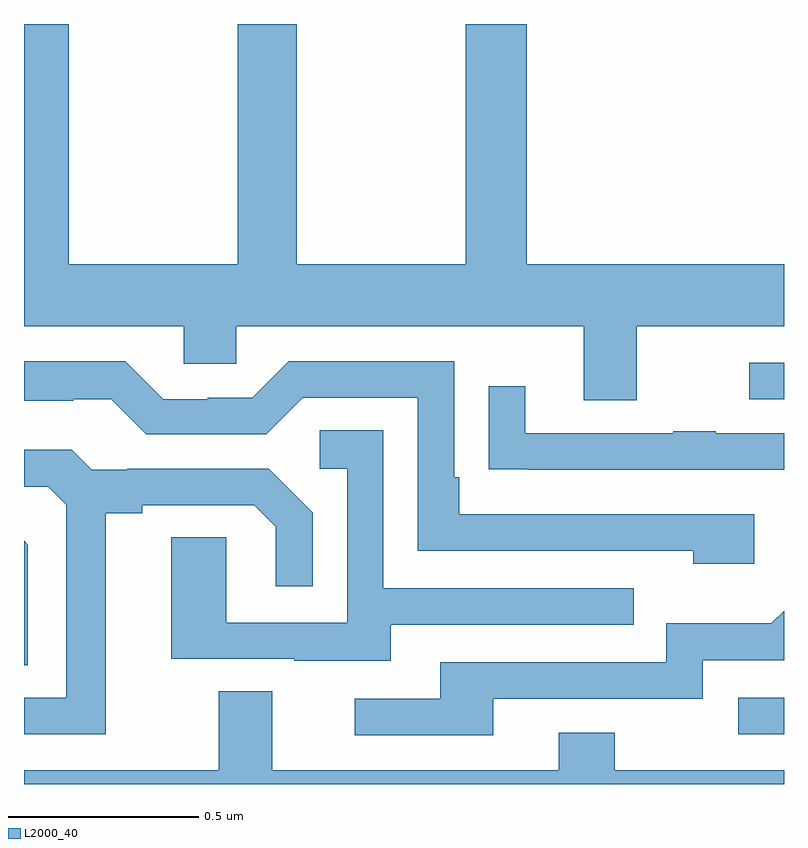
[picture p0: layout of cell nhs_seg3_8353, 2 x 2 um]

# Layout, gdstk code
import gdstk
lib = gdstk.Library(unit=1e-6, precision=1e-09)
def R(c, l, rs):  # rectangles x0, y0, x1, y1
    for r in rs: c.add(gdstk.rectangle(r[:2], r[2:], *l))
def P(c, l, *ps):  # polygons
    for p in ps: c.add(gdstk.Polygon(p, *l))
L2000_40 = (2000, 40)

nhs_seg3_8353 = lib.new_cell('nhs_seg3_8353')
R(nhs_seg3_8353, L2000_40, [(216.879,678.531,217,678.627), (216.909,679.413,217,679.509)])
P(nhs_seg3_8353, L2000_40, [(216.613,679.604),(217,679.604),(217,679.768),(216.323,679.768),(216.323,680.4),(216.163,680.4),(216.163,679.768),(215.718,679.768),(215.718,680.4),(215.563,680.4),(215.563,679.768),(215.118,679.768),(215.118,680.4),(215,680.4),(215,679.604),(215.421,679.604),(215.421,679.506),(215.559,679.506),(215.559,679.604),(216.473,679.604),(216.473,679.41),(216.613,679.41)],
  [(216.922,679.11),(216.145,679.11),(216.145,679.207),(216.132,679.207),(216.132,679.512),(215.697,679.512),(215.601,679.416),(215.483,679.416),(215.483,679.413),(215.367,679.413),(215.267,679.513),(215,679.513),(215,679.409),(215.129,679.409),(215.129,679.413),(215.229,679.413),(215.322,679.32),(215.637,679.32),(215.733,679.416),(216.036,679.416),(216.036,679.014),(216.761,679.014),(216.761,678.98),(216.922,678.98)],
  [(217,679.323),(216.821,679.323),(216.821,679.328),(216.709,679.328),(216.709,679.323),(216.319,679.323),(216.319,679.447),(216.223,679.447),(216.223,679.228),(216.325,679.228),(216.325,679.227),(217,679.227)],
  [(215.965,678.819),(216.605,678.819),(216.605,678.915),(215.946,678.915),(215.946,679.331),(215.778,679.331),(215.778,679.23),(215.85,679.23),(215.85,678.825),(215.532,678.825),(215.532,679.049),(215.387,679.049),(215.387,678.729),(215.711,678.729),(215.711,678.725),(215.965,678.725)],
  [(215.215,679.112),(215.311,679.112),(215.311,679.134),(215.606,679.134),(215.663,679.077),(215.663,678.921),(215.76,678.921),(215.76,679.114),(215.644,679.23),(215.272,679.23),(215.272,679.227),(215.178,679.227),(215.126,679.279),(215,679.279),(215,679.182),(215.064,679.182),(215.111,679.135),(215.111,678.627),(215.001,678.627),(215.001,678.531),(215.215,678.531)],
  [(215.01,679.03),(215,679.04),(215,678.712),(215.01,678.712)],
  [(216.235,678.624),(216.786,678.624),(216.786,678.726),(217,678.726),(217,678.856),(216.967,678.823),(216.69,678.823),(216.69,678.72),(216.095,678.72),(216.095,678.624),(215.871,678.624),(215.871,678.528),(216.235,678.528)],
  [(217,678.436),(216.555,678.436),(216.555,678.535),(216.407,678.535),(216.407,678.436),(215.653,678.436),(215.653,678.644),(215.513,678.644),(215.513,678.436),(215,678.436),(215,678.4),(217,678.4)])

lib.write_gds('nhs_seg3_8353.gds')
